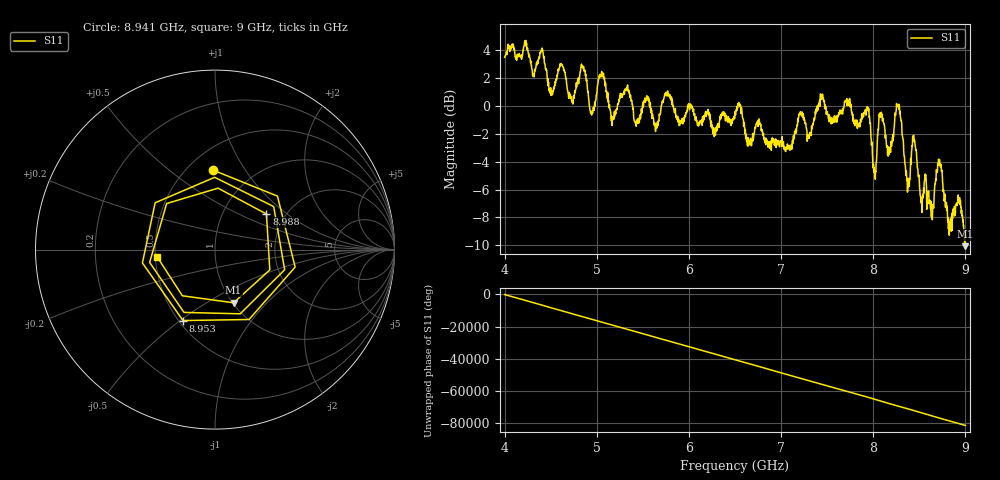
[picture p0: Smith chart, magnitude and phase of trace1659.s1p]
! Created with skrf 1.8.0 (http://scikit-rf.org).
# Hz S RI R 50.0
!freq ReS11 ImS11
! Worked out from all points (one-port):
!   1601 points, 4 GHz to 9 GHz, reference 50 ohm
!   lowest |S11| = -10.1 dB at 8.994 GHz (marker M1), VSWR 1.91, Z = 50.6 - j33.2 ohm
!   |S11| at or under -10 dB: 8.993386 GHz to 8.99741 GHz (4.024 MHz wide, 0.0447 % of centre)
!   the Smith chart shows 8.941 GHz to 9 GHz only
!   S11 on the Smith chart (normalised r, x): 8.941 GHz: 0.66, +0.73; 8.953 GHz: 0.53, -0.51; 8.988 GHz: 1.60, +0.72; 9 GHz: 0.51, -0.05
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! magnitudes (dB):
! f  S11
! 4 GHz  3.5
! 4.625 GHz  3.0
! 4.728 GHz  0.3
! 4.853 GHz  2.7
! 4.947 GHz  -0.5
! 5.05 GHz  2.2
! 5.169 GHz  -0.9
! 5.25 GHz  0.7
! 5.875 GHz  -1.0
! 6.5 GHz  -0.4
! 7.125 GHz  -2.5
! 7.75 GHz  0.2
! 7.938 GHz  -0.1
! 8.016 GHz  -4.7
! 8.078 GHz  -0.6
! 8.175 GHz  -3.0
! 8.272 GHz  0.0
! 8.375 GHz  -5.3
! 8.444 GHz  -2.5
! 8.525 GHz  -6.6
! 8.638 GHz  -7.3
! 8.722 GHz  -4.1
! 8.828 GHz  -8.7
! 8.941 GHz  -7.1
! 8.953 GHz  -7.3
! 8.988 GHz  -9.2
! 8.994 GHz  -10.1
! 9 GHz  -9.8
